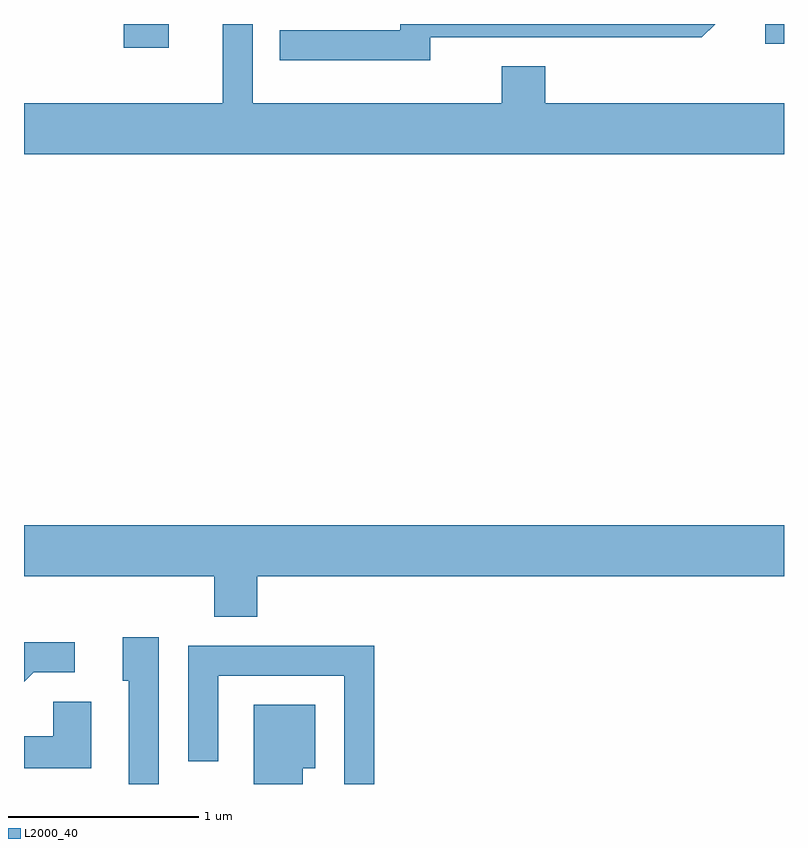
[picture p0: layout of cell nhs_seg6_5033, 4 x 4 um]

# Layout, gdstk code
import gdstk
lib = gdstk.Library(unit=1e-6, precision=1e-09)
def R(c, l, rs):  # rectangles x0, y0, x1, y1
    for r in rs: c.add(gdstk.rectangle(r[:2], r[2:], *l))
def P(c, l, *ps):  # polygons
    for p in ps: c.add(gdstk.Polygon(p, *l))
L2000_40 = (2000, 40)

nhs_seg6_5033 = lib.new_cell('nhs_seg6_5033')
R(nhs_seg6_5033, L2000_40, [(338.136,1666.036,338.374,1666.162), (341.511,1666.058,341.611,1666.162)])
P(nhs_seg6_5033, L2000_40, [(341.611,1665.744),(340.354,1665.744),(340.354,1665.939),(340.126,1665.939),(340.126,1665.744),(338.814,1665.744),(338.814,1666.162),(338.656,1666.162),(338.656,1665.744),(337.611,1665.744),(337.611,1665.476),(341.611,1665.476)],
  [(339.749,1666.091),(341.177,1666.091),(341.248,1666.162),(339.591,1666.162),(339.591,1666.129),(338.958,1666.129),(338.958,1665.971),(339.749,1665.971)],
  [(338.839,1663.256),(341.611,1663.256),(341.611,1663.524),(337.611,1663.524),(337.611,1663.256),(338.611,1663.256),(338.611,1663.041),(338.839,1663.041)],
  [(338.319,1662.934),(338.131,1662.934),(338.131,1662.706),(338.161,1662.706),(338.161,1662.162),(338.319,1662.162)],
  [(337.662,1662.751),(337.878,1662.751),(337.878,1662.909),(337.611,1662.909),(337.611,1662.7)],
  [(339.454,1662.889),(338.476,1662.889),(338.476,1662.283),(338.634,1662.283),(338.634,1662.731),(339.296,1662.731),(339.296,1662.162),(339.454,1662.162)],
  [(337.964,1662.594),(337.766,1662.594),(337.766,1662.414),(337.611,1662.414),(337.611,1662.246),(337.964,1662.246)],
  [(339.079,1662.246),(339.144,1662.246),(339.144,1662.579),(338.821,1662.579),(338.821,1662.162),(339.079,1662.162)])

lib.write_gds('nhs_seg6_5033.gds')
